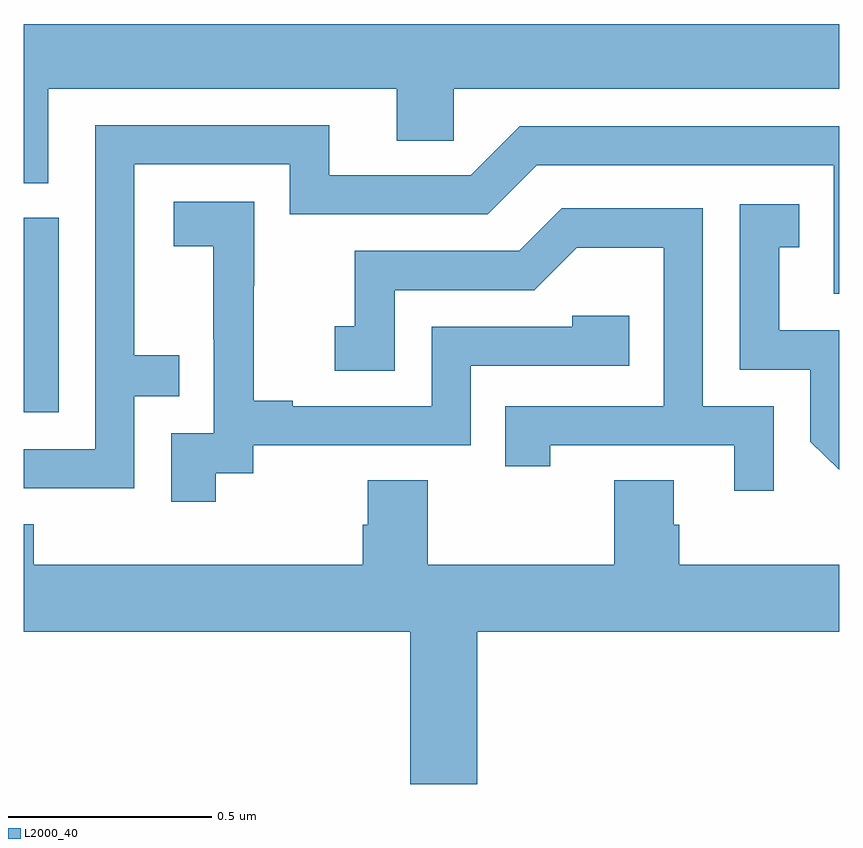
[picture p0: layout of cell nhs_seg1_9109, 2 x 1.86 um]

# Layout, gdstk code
import gdstk
lib = gdstk.Library(unit=1e-6, precision=1e-09)
def R(c, l, rs):  # rectangles x0, y0, x1, y1
    for r in rs: c.add(gdstk.rectangle(r[:2], r[2:], *l))
def P(c, l, *ps):  # polygons
    for p in ps: c.add(gdstk.Polygon(p, *l))
L2000_40 = (2000, 40)

nhs_seg1_9109 = lib.new_cell('nhs_seg1_9109')
R(nhs_seg1_9109, L2000_40, [(224,576.246,224.085,576.723)])
P(nhs_seg1_9109, L2000_40, [(224.059,577.04),(224.915,577.04),(224.915,576.913),(225.054,576.913),(225.054,577.04),(226,577.04),(226,577.199),(224,577.199),(224,576.808),(224.059,576.808)],
  [(224.271,576.285),(224.381,576.285),(224.381,576.386),(224.271,576.386),(224.271,576.855),(224.652,576.855),(224.652,576.732),(225.138,576.732),(225.258,576.852),(225.987,576.852),(225.987,576.537),(226,576.537),(226,576.948),(225.216,576.948),(225.096,576.828),(224.749,576.828),(224.749,576.951),(224.175,576.951),(224.175,576.156),(224,576.156),(224,576.06),(224.271,576.06)],
  [(224.47,576.097),(224.562,576.097),(224.562,576.165),(225.096,576.165),(225.096,576.36),(225.485,576.36),(225.485,576.483),(225.345,576.483),(225.345,576.456),(225,576.456),(225,576.261),(224.659,576.261),(224.659,576.274),(224.564,576.274),(224.564,576.557),(224.565,576.557),(224.565,576.763),(224.367,576.763),(224.367,576.653),(224.465,576.653),(224.465,576.425),(224.466,576.425),(224.466,576.195),(224.361,576.195),(224.361,576.027),(224.47,576.027)],
  [(226,576.447),(225.853,576.447),(225.853,576.651),(225.902,576.651),(225.902,576.757),(225.756,576.757),(225.756,576.351),(225.93,576.351),(225.93,576.174),(226,576.105)],
  [(225.84,576.261),(225.666,576.261),(225.666,576.747),(225.32,576.747),(225.215,576.642),(224.812,576.642),(224.812,576.457),(224.763,576.457),(224.763,576.348),(224.91,576.348),(224.91,576.546),(225.252,576.546),(225.356,576.65),(225.57,576.65),(225.57,576.261),(225.181,576.261),(225.181,576.114),(225.292,576.114),(225.292,576.165),(225.743,576.165),(225.743,576.054),(225.84,576.054)],
  [(225.112,575.708),(226,575.708),(226,575.872),(225.608,575.872),(225.608,575.97),(225.595,575.97),(225.595,576.08),(225.448,576.08),(225.448,575.872),(224.991,575.872),(224.991,576.08),(224.843,576.08),(224.843,575.97),(224.831,575.97),(224.831,575.872),(224.024,575.872),(224.024,575.971),(224,575.971),(224,575.708),(224.948,575.708),(224.948,575.334),(225.112,575.334)])

lib.write_gds('nhs_seg1_9109.gds')
